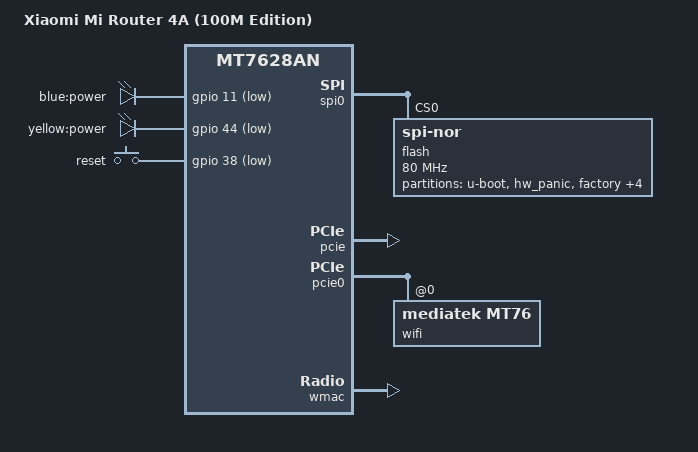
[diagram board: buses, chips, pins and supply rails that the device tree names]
// SPDX-License-Identifier: GPL-2.0-or-later OR MIT

#include "mt7628an.dtsi"

#include <dt-bindings/gpio/gpio.h>
#include <dt-bindings/input/input.h>

/ {
	compatible = "xiaomi,mi-router-4a-100m", "mediatek,mt7628an-soc";
	model = "Xiaomi Mi Router 4A (100M Edition)";

	aliases {
		led-boot = &led_power_yellow;
		led-failsafe = &led_power_yellow;
		led-running = &led_power_blue;
		led-upgrade = &led_power_yellow;
	};

	chosen {
		bootargs = "console=ttyS0,115200";
	};

	leds {
		compatible = "gpio-leds";

		led_power_blue: power_blue {
			label = "blue:power";
			gpios = <&gpio 11 GPIO_ACTIVE_LOW>;
		};

		led_power_yellow: power_yellow {
			label = "yellow:power";
			gpios = <&gpio 44 GPIO_ACTIVE_LOW>;
		};
	};

	keys {
		compatible = "gpio-keys";

		reset {
			label = "reset";
			gpios = <&gpio 38 GPIO_ACTIVE_LOW>;
			linux,code = <KEY_RESTART>;
		};
	};
};

&spi0 {
	status = "okay";

	flash@0 {
		compatible = "jedec,spi-nor";
		reg = <0>;
		spi-max-frequency = <80000000>;
		m25p,fast-read;

		partitions {
			compatible = "fixed-partitions";
			#address-cells = <1>;
			#size-cells = <1>;

			partition@0 {
				label = "u-boot";
				reg = <0x0 0x30000>;
				read-only;
			};

			partition@30000 {
				label = "hw_panic";
				reg = <0x30000 0x10000>;
				read-only;
			};

			factory: partition@40000 {
				label = "factory";
				reg = <0x40000 0x10000>;
				read-only;
			};

			partition@50000 {
				compatible = "denx,uimage";
				label = "firmware";
				reg = <0x50000 0xf70000>;
			};

			partition@fc0000 {
				label = "oem";
				reg = <0xfc0000 0x20000>;
				read-only;
			};

			bdinfo: partition@fe0000 {
				label = "bdinfo";
				reg = <0xfe0000 0x10000>;
				read-only;
			};

			partition@ff0000 {
				label = "backup";
				reg = <0xff0000 0x10000>;
				read-only;
			};
		};
	};
};

&pcie {
	status = "okay";
};

&pcie0 {
	wifi@0,0 {
		compatible = "mediatek,mt76";
		reg = <0x0000 0 0 0 0>;
		mediatek,mtd-eeprom = <&factory 0x8000>;
		ieee80211-freq-limit = <5000000 6000000>;
	};
};

&ethernet {
	mtd-mac-address = <&factory 0x4>;
	mtd-mac-address-increment = <(-1)>;
};

&esw {
	mediatek,portmap = <0x3e>;
	mediatek,portdisable = <0x2a>;
};

&state_default {
	gpio {
		groups = "gpio", "wdt", "wled_an";
		function = "gpio";
	};
};

&wmac {
	status = "okay";
};
